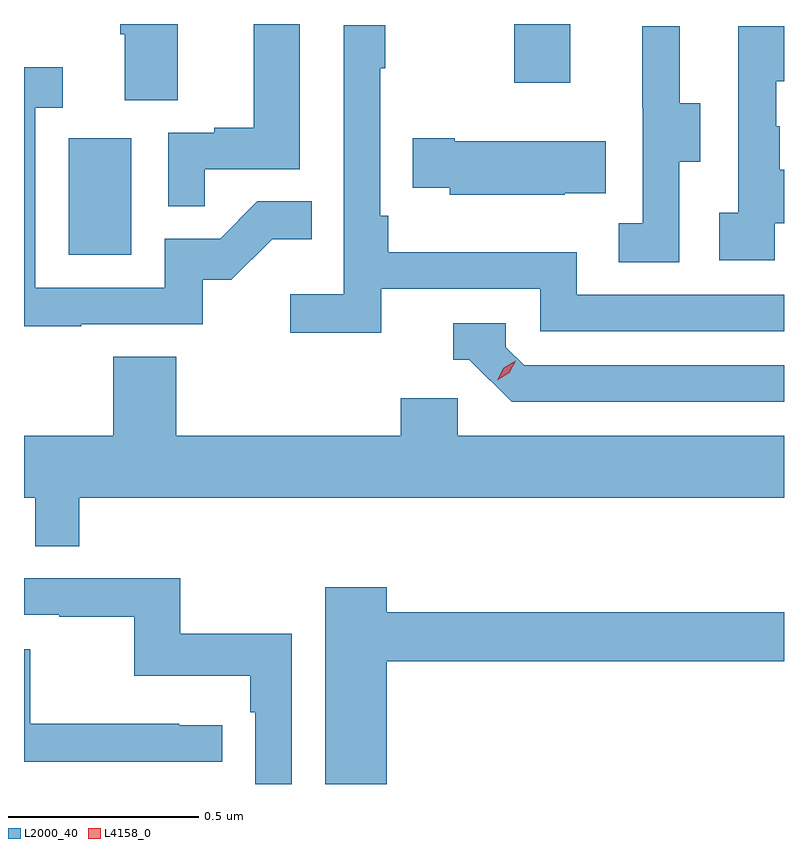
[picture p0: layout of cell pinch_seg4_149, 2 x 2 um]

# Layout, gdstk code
import gdstk
lib = gdstk.Library(unit=1e-6, precision=1e-09)
def R(c, l, rs):  # rectangles x0, y0, x1, y1
    for r in rs: c.add(gdstk.rectangle(r[:2], r[2:], *l))
def P(c, l, *ps):  # polygons
    for p in ps: c.add(gdstk.Polygon(p, *l))
L2000_40 = (2000, 40)
L4158_0 = (4158, 0)

pinch_seg4_149 = lib.new_cell('pinch_seg4_149')
R(pinch_seg4_149, L2000_40, [(1080.626,800.124,1080.79,800.431), (1081.798,800.577,1081.945,800.731)])
P(pinch_seg4_149, L2000_40, [(1080.983,800.349),(1081.234,800.349),(1081.234,800.731),(1081.112,800.731),(1081.112,800.458),(1081.009,800.458),(1081.009,800.445),(1080.888,800.445),(1080.888,800.251),(1080.983,800.251)],
  [(1080.913,800.731),(1080.761,800.731),(1080.761,800.704),(1080.773,800.704),(1080.773,800.53),(1080.913,800.53)],
  [(1081.448,800.034),(1081.866,800.034),(1081.866,799.923),(1082.508,799.923),(1082.508,800.019),(1081.962,800.019),(1081.962,800.131),(1081.466,800.131),(1081.466,800.227),(1081.446,800.227),(1081.446,800.615),(1081.459,800.615),(1081.459,800.728),(1081.35,800.728),(1081.35,800.02),(1081.209,800.02),(1081.209,799.918),(1081.448,799.918)],
  [(1082.232,800.368),(1082.287,800.368),(1082.287,800.523),(1082.233,800.523),(1082.233,800.725),(1082.135,800.725),(1082.135,800.511),(1082.136,800.511),(1082.136,800.207),(1082.073,800.207),(1082.073,800.104),(1082.232,800.104)],
  [(1082.484,800.207),(1082.508,800.207),(1082.508,800.347),(1082.497,800.347),(1082.497,800.462),(1082.487,800.462),(1082.487,800.58),(1082.508,800.58),(1082.508,800.725),(1082.388,800.725),(1082.388,800.234),(1082.337,800.234),(1082.337,800.109),(1082.484,800.109)],
  [(1080.659,799.941),(1080.978,799.941),(1080.978,800.058),(1081.054,800.058),(1081.161,800.165),(1081.265,800.165),(1081.265,800.264),(1081.122,800.264),(1081.024,800.166),(1080.879,800.166),(1080.879,800.037),(1080.537,800.037),(1080.537,800.511),(1080.61,800.511),(1080.61,800.617),(1080.508,800.617),(1080.508,799.936),(1080.659,799.936)],
  [(1081.931,800.285),(1082.039,800.285),(1082.039,800.422),(1081.642,800.422),(1081.642,800.43),(1081.531,800.43),(1081.531,800.3),(1081.629,800.3),(1081.629,800.282),(1081.931,800.282)],
  [(1082.508,799.833),(1081.824,799.833),(1081.776,799.881),(1081.776,799.944),(1081.637,799.944),(1081.637,799.848),(1081.68,799.848),(1081.791,799.737),(1082.508,799.737)],
  [(1080.653,799.484),(1082.508,799.484),(1082.508,799.648),(1081.65,799.648),(1081.65,799.746),(1081.499,799.746),(1081.499,799.648),(1080.908,799.648),(1080.908,799.856),(1080.743,799.856),(1080.743,799.648),(1080.508,799.648),(1080.508,799.484),(1080.537,799.484),(1080.537,799.357),(1080.653,799.357)],
  [(1081.212,799.126),(1080.919,799.126),(1080.919,799.272),(1080.508,799.272),(1080.508,799.176),(1080.601,799.176),(1080.601,799.171),(1080.798,799.171),(1080.798,799.016),(1081.103,799.016),(1081.103,798.92),(1081.116,798.92),(1081.116,798.731),(1081.212,798.731)],
  [(1081.462,799.054),(1082.508,799.054),(1082.508,799.183),(1081.462,799.183),(1081.462,799.249),(1081.301,799.249),(1081.301,798.731),(1081.462,798.731)],
  [(1081.03,798.885),(1080.917,798.885),(1080.917,798.89),(1080.524,798.89),(1080.524,799.086),(1080.508,799.086),(1080.508,798.789),(1081.03,798.789)])
P(pinch_seg4_149, L4158_0, [(1081.754,799.794),(1081.754,799.794),(1081.771,799.826),(1081.802,799.845),(1081.802,799.845),(1081.802,799.845),(1081.785,799.813),(1081.754,799.794)])

lib.write_gds('pinch_seg4_149.gds')
